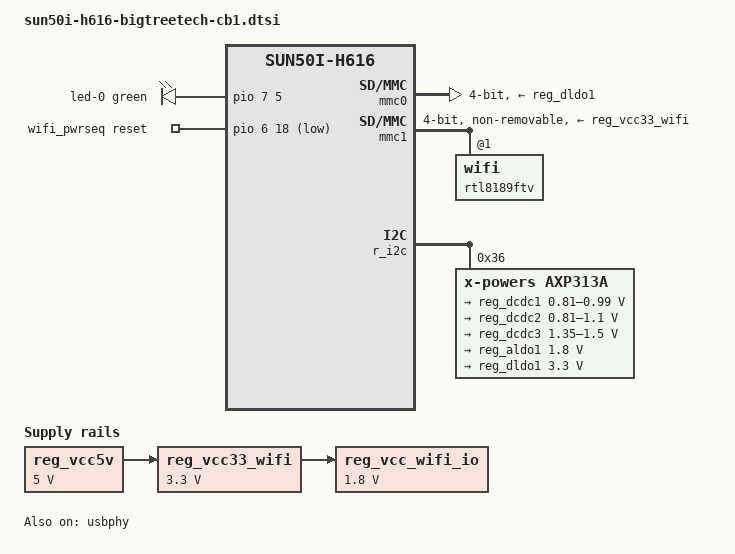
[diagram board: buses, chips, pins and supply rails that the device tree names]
// SPDX-License-Identifier: (GPL-2.0+ OR MIT)
/*
 * Copyright (C) 2023 Martin Botka <martin.botka@somainline.org>.
 */

/dts-v1/;

#include "sun50i-h616.dtsi"

#include <dt-bindings/gpio/gpio.h>
#include <dt-bindings/interrupt-controller/arm-gic.h>
#include <dt-bindings/leds/common.h>

/ {
	aliases {
		ethernet0 = &rtl8189ftv;
	};

	leds {
		compatible = "gpio-leds";

		led-0 {
			function = LED_FUNCTION_STATUS;
			color = <LED_COLOR_ID_GREEN>;
			gpios = <&pio 7 5 GPIO_ACTIVE_HIGH>; /* PH5 */
		};
	};

	reg_vcc5v: regulator-vcc5v {
		/* board wide 5V supply from carrier boards */
		compatible = "regulator-fixed";
		regulator-name = "vcc-5v";
		regulator-min-microvolt = <5000000>;
		regulator-max-microvolt = <5000000>;
		regulator-always-on;
	};

	reg_vcc33_wifi: vcc33-wifi {
		compatible = "regulator-fixed";
		regulator-name = "vcc33-wifi";
		regulator-min-microvolt = <3300000>;
		regulator-max-microvolt = <3300000>;
		regulator-always-on;
		vin-supply = <&reg_vcc5v>;
	};

	reg_vcc_wifi_io: vcc-wifi-io {
		compatible = "regulator-fixed";
		regulator-name = "vcc-wifi-io";
		regulator-min-microvolt = <1800000>;
		regulator-max-microvolt = <1800000>;
		regulator-always-on;
		vin-supply = <&reg_vcc33_wifi>;
	};

	wifi_pwrseq: wifi-pwrseq {
		compatible = "mmc-pwrseq-simple";
		clocks = <&rtc 1>;
		clock-names = "ext_clock";
		reset-gpios = <&pio 6 18 GPIO_ACTIVE_LOW>; /* PG18 */
		post-power-on-delay-ms = <200>;
	};
};

&mmc0 {
	vmmc-supply = <&reg_dldo1>;
	/* Card detection pin is not connected */
	broken-cd;
	bus-width = <4>;
	status = "okay";
};

&mmc1 {
	vmmc-supply = <&reg_vcc33_wifi>;
	vqmmc-supply = <&reg_vcc_wifi_io>;
	mmc-pwrseq = <&wifi_pwrseq>;
	bus-width = <4>;
	non-removable;
	mmc-ddr-1_8v;
	status = "okay";

	rtl8189ftv: wifi@1 {
		reg = <1>;
	};
};

&r_i2c {
	status = "okay";

	axp313a: pmic@36 {
		compatible = "x-powers,axp313a";
		reg = <0x36>;
		interrupt-controller;
		#interrupt-cells = <1>;

		regulators {
			reg_dcdc1: dcdc1 {
				regulator-name = "vdd-gpu-sys";
				regulator-min-microvolt = <810000>;
				regulator-max-microvolt = <990000>;
				regulator-always-on;
			};

			reg_dcdc2: dcdc2 {
				regulator-name = "vdd-cpu";
				regulator-min-microvolt = <810000>;
				regulator-max-microvolt = <1100000>;
				regulator-ramp-delay = <200>;
				regulator-always-on;
			};

			reg_dcdc3: dcdc3 {
				regulator-name = "vcc-dram";
				regulator-min-microvolt = <1350000>;
				regulator-max-microvolt = <1500000>;
				regulator-always-on;
			};

			reg_aldo1: aldo1 {
				regulator-name = "vcc-1v8-pll";
				regulator-min-microvolt = <1800000>;
				regulator-max-microvolt = <1800000>;
				regulator-always-on;
			};

			reg_dldo1: dldo1 {
				regulator-name = "vcc-3v3-io";
				regulator-min-microvolt = <3300000>;
				regulator-max-microvolt = <3300000>;
				regulator-always-on;
			};
		};
	};
};

&usbphy {
	status = "okay";
};
